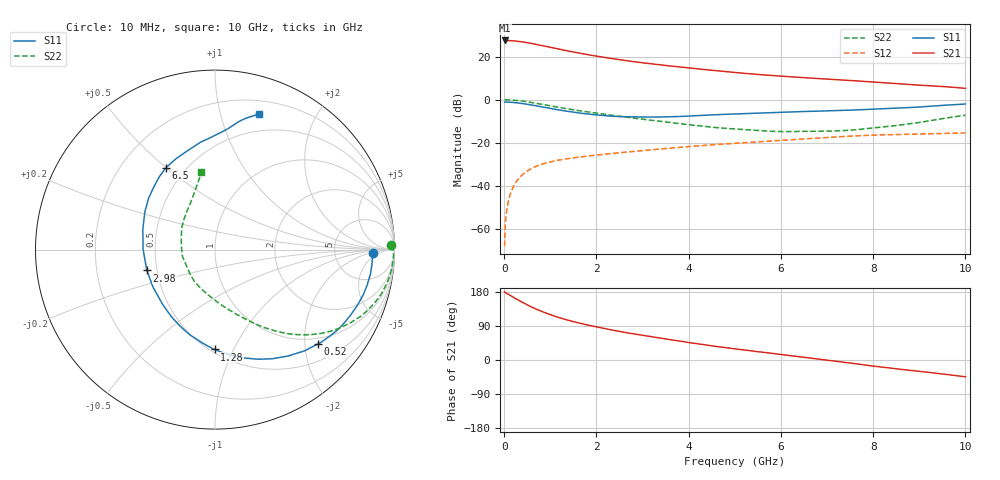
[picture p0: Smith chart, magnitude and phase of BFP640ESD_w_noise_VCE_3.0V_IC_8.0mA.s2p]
! Infineon Technologies  Discrete & RF Semiconductors
! BFP640ESD
! VCE =  3.0 V,  IC =  8.0 mA
! Common Emitter S-Parameters:  Jan 2016
# GHz  S  MA  R  50
!  f  S11  S21  S12  S22
! GHz  MAG  ANG  MAG  ANG  MAG  ANG  MAG  ANG
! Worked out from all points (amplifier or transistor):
!   233 points, 10 MHz to 10 GHz, reference 50 ohm
!   highest |S21| = 27.5 dB at 10 MHz (marker M1)
!   |S21| within 3 dB of that: start of sweep to 962.7 MHz
!   unconditionally stable (mu >= 1): start of sweep to 11.21 MHz; 4.34 GHz to 8.912 GHz
!   at 200 MHz: K = 0.09, MSG = 33.8 dB, |S12| = -40.4 dB
!   at 1.74 GHz: K = 0.62, MSG = 23.7 dB, |S12| = -26.3 dB
!   at 10 GHz: K = 0.86, MSG = 10.3 dB, |S12| = -15.4 dB
!   lowest NFmin = 0.63 dB at 450 MHz
!   S11 on the Smith chart (normalised r, x): 10 MHz: 15, -3; 520 MHz: 0.86, -2.29; 1.28 GHz: 0.53, -0.85; 2.98 GHz: 0.44, -0.12; 6.5 GHz: 0.39, +0.50; 10 GHz: 0.32, +1.32
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0.01  0.8814 -1.3  23.65 179.8  0.0004 14.1  0.9836 1.4
0.02  0.88 -1.8  23.49 178.7  0.0011 85.1  0.9958 -0.8
0.07  0.8778 -6.1  23.42 174.7  0.0034 84.9  0.9935 -3.6
0.155  0.8704 -13.2  23.32 168.8  0.0075 81.6  0.9852 -8.1
0.26  0.8496 -22.0  22.78 161.2  0.0124 77.5  0.9654 -13.4
0.38  0.8205 -31.8  22 153.2  0.0175 72.5  0.9331 -19.1
0.52  0.7775 -42.5  20.81 144.3  0.0229 67.3  0.8871 -25.2
0.7  0.7195 -55.5  19.18 134.0  0.0287 61.7  0.8232 -32.0
0.84  0.6748 -64.5  17.82 127.0  0.0324 58.0  0.7736 -36.5
1.06  0.6104 -78.0  15.92 117.2  0.0373 53.6  0.7008 -42.6
1.28  0.5563 -90.2  14.22 108.6  0.0414 50.2  0.637 -47.7
1.68  0.483 -109.8  11.75 95.8  0.0473 46.3  0.5449 -55.0
2.2  0.4253 -132.3  9.448 82.2  0.0545 43.4  0.4569 -62.8
2.6  0.4037 -149.0  8.174 73.1  0.0601 41.6  0.3989 -69.1
2.98  0.3966 -163.0  7.224 65.4  0.0656 40.2  0.3542 -75.4
3.4  0.3972 -177.2  6.393 57.5  0.0719 38.3  0.3134 -82.8
4  0.4174 164.4  5.463 46.1  0.0817 35.4  0.2632 -95.7
5.1  0.4705 140.8  4.182 28.0  0.0988 28.3  0.2058 -126.1
6.5  0.5321 120.8  3.243 7.2  0.1229 19.0  0.1853 -168.3
6.8  0.542 116.3  3.096 2.8  0.1287 16.5  0.1849 -176.2
8.4  0.6278 91.6  2.389 -21.8  0.1547 0.2  0.2448 134.2
10  0.793 72.2  1.833 -44.4  0.1692 -14.4  0.4369 100.0
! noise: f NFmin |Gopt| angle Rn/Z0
0.45  0.63  0.26  9  0.1
0.9  0.65  0.24  22  0.11
1.9  0.69  0.18  38  0.11
2.4  0.73  0.14  55  0.1
5.5  1.02  0.32  -137  0.13
10  1.86  0.6  -80  0.73
